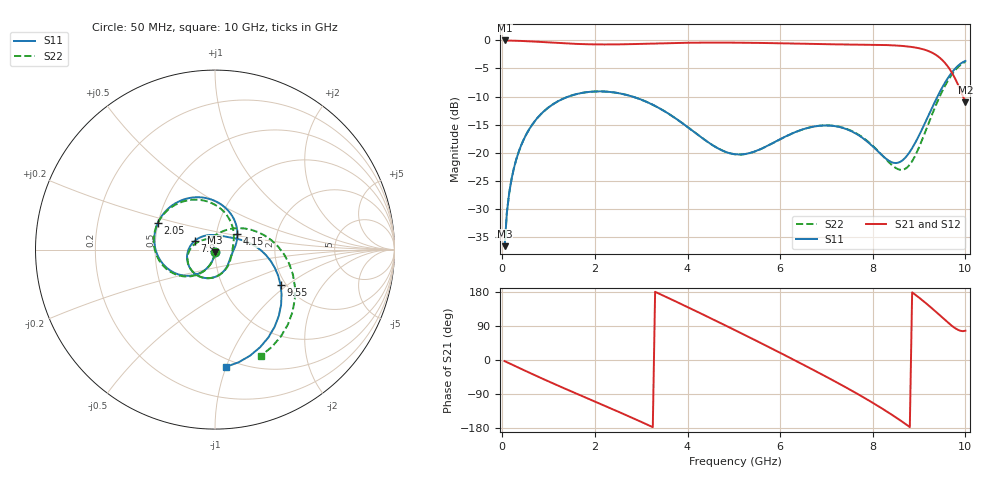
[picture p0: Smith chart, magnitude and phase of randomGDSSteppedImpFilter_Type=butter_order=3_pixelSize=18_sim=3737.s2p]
! freq	dB(S11)	phase(S11)	dB(S12)	phase(S12)
!  dB(S21)	phase(S21)	dB(S22)	phase(S22)
!S-par simulation data
#  GHz  S  DB  R 50
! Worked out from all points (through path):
!   200 points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, 50 MHz to 10 GHz, reference 50 ohm
!   highest |S21| = -0.01 dB at 50 MHz (marker M1); lowest = -11.0 dB at 10 GHz (marker M2)
!   group delay of S21, straight-line fit = 174 ps
!   lowest |S11| = -36.7 dB at 50 MHz (marker M3), VSWR 1.03, Z = 49.9 - j1.46 ohm
!   |S11| at or under -10 dB: start of sweep to 1.429 GHz; 2.807 GHz to 9.397 GHz (6.59 GHz wide, 108 % of centre)
!   |S22| runs from -36.7 to -3.8 dB; largest |S21 - S12| = 0
!   S11 on the Smith chart (normalised r, x): 50 MHz: 1.00, -0.03; 2.05 GHz: 0.50, +0.17; 4.15 GHz: 1.26, +0.22; 7.9 GHz: 0.79, +0.08; 9.55 GHz: 1.88, -0.89; 10 GHz: 0.44, -1.00
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0.05  -36.66 -92.6  -0.01 -2.9  -0.01 -2.9  -36.67 -92.5
0.1  -30.61 -95.7  -0.02 -5.8  -0.02 -5.8  -30.61 -95.6
0.2  -24.70 -102.1  -0.03 -11.6  -0.03 -11.6  -24.70 -101.7
0.5  -17.03 -119.5  -0.12 -28.7  -0.12 -28.7  -17.03 -118.6
1.1  -11.35 -153.6  -0.41 -62.0  -0.41 -62.0  -11.35 -151.4
1.75  -9.31 171.1  -0.66 -96.6  -0.66 -96.6  -9.31 174.7
2.05  -9.09 155.0  -0.71 -112.3  -0.71 -112.3  -9.09 159.4
2.8  -9.98 113.9  -0.66 -152.3  -0.66 -152.3  -9.98 120.8
3.4  -12.12 79.4  -0.52 174.3  -0.52 174.3  -12.12 89.2
4.15  -16.36 34.6  -0.40 130.9  -0.40 130.9  -16.36 48.5
5.05  -20.30 -17.1  -0.40 77.2  -0.40 77.2  -20.31 -5.1
5.95  -17.81 -67.0  -0.50 22.1  -0.50 22.1  -17.84 -65.0
6.7  -15.39 -113.7  -0.63 -25.2  -0.63 -25.2  -15.39 -113.1
7.35  -15.58 -158.1  -0.71 -67.6  -0.71 -67.6  -15.53 -154.3
7.9  -18.16 157.4  -0.75 -105.7  -0.75 -105.7  -18.05 170.0
8.35  -21.45 105.3  -0.84 -139.5  -0.84 -139.5  -21.73 138.2
8.65  -21.31 61.5  -0.99 -164.0  -0.99 -164.0  -23.04 109.9
8.95  -17.73 28.5  -1.31 169.3  -1.31 169.3  -19.96 72.9
9.3  -11.65 -1.9  -2.27 134.0  -2.27 134.0  -12.80 28.9
9.55  -7.66 -28.2  -3.92 106.6  -3.92 106.6  -8.25 -4.2
9.8  -4.84 -58.8  -7.16 82.3  -7.16 82.3  -5.12 -38.9
10  -3.66 -84.7  -11.00 77.2  -11.00 77.2  -3.81 -66.8
